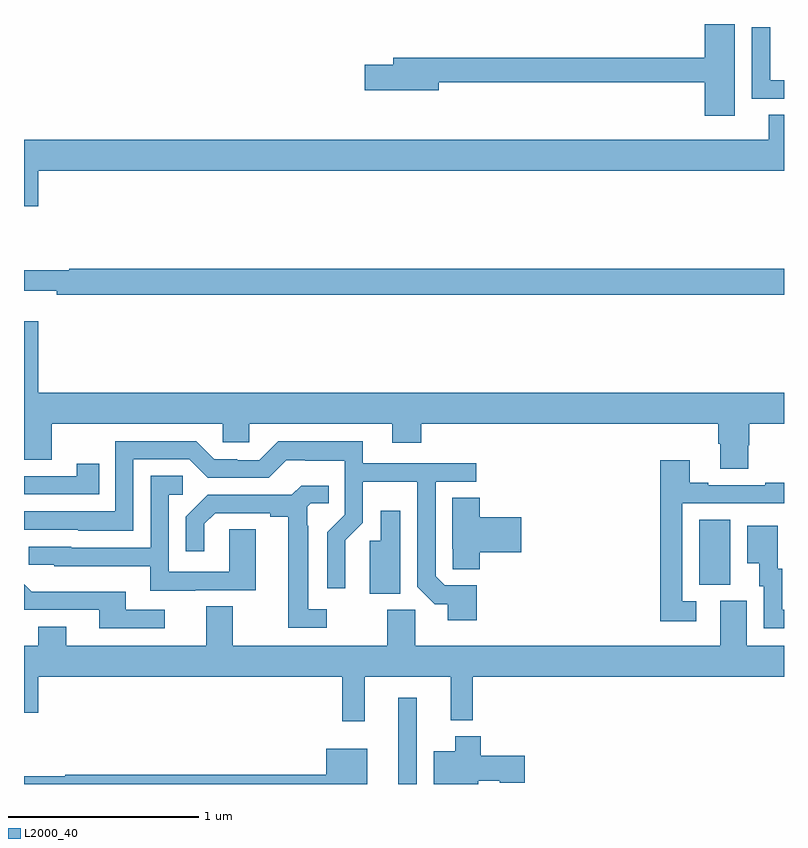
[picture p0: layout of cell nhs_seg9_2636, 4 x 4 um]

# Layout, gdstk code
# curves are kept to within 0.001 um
import gdstk
lib = gdstk.Library(unit=1e-6, precision=1e-09)
def R(c, l, rs):  # rectangles x0, y0, x1, y1
    for r in rs: c.add(gdstk.rectangle(r[:2], r[2:], *l))
def P(c, l, *ps):  # polygons
    for p in ps: c.add(gdstk.Polygon(p, *l))
L2000_40 = (2000, 40)

nhs_seg9_2636 = lib.new_cell('nhs_seg9_2636')
R(nhs_seg9_2636, L2000_40, [(262.97,1218.5,263.067,1218.955), (264.554,1219.549,264.718,1219.892)])
P(nhs_seg9_2636, L2000_40, [(264.742,1222.5),(264.584,1222.5),(264.584,1222.322),(262.943,1222.322),(262.943,1222.286),(262.794,1222.286),(262.794,1222.151),(263.182,1222.151),(263.182,1222.194),(264.584,1222.194),(264.584,1222.017),(264.742,1222.017)],
  [(265,1222.203),(264.927,1222.203),(264.927,1222.483),(264.831,1222.483),(264.831,1222.107),(265,1222.107)],
  [(261.076,1221.728),(265,1221.728),(265,1222.022),(264.92,1222.022),(264.92,1221.892),(261,1221.892),(261,1221.54),(261.076,1221.54)],
  [(265,1221.212),(261.239,1221.212),(261.239,1221.205),(261,1221.205),(261,1221.095),(261.172,1221.095),(261.172,1221.076),(265,1221.076)],
  [(264.813,1220.283),(264.818,1220.283),(264.818,1220.396),(265,1220.396),(265,1220.56),(261.076,1220.56),(261.076,1220.935),(261,1220.935),(261,1220.206),(261.147,1220.206),(261.147,1220.396),(262.047,1220.396),(262.047,1220.298),(262.185,1220.298),(262.185,1220.396),(262.937,1220.396),(262.937,1220.297),(263.09,1220.297),(263.09,1220.396),(264.653,1220.396),(264.653,1220.29),(264.665,1220.29),(264.665,1220.158),(264.813,1220.158)],
  [(263.384,1219.545),(263.214,1219.545),(263.166,1219.593),(263.166,1220.091),(263.38,1220.091),(263.38,1220.187),(262.783,1220.187),(262.783,1220.305),(262.339,1220.305),(262.239,1220.205),(262.122,1220.205),(262.122,1220.208),(262.002,1220.208),(261.906,1220.304),(261.48,1220.304),(261.48,1219.935),(261,1219.935),(261,1219.839),(261.285,1219.839),(261.285,1219.832),(261.576,1219.832),(261.576,1220.208),(261.87,1220.208),(261.966,1220.112),(262.287,1220.112),(262.38,1220.205),(262.48,1220.205),(262.48,1220.201),(262.689,1220.201),(262.689,1219.917),(262.596,1219.824),(262.596,1219.53),(262.692,1219.53),(262.691,1219.782),(262.782,1219.874),(262.782,1220.09),(263.07,1220.09),(263.07,1219.539),(263.163,1219.447),(263.231,1219.447),(263.231,1219.362),(263.384,1219.362)],
  [(264.538,1219.461),(264.465,1219.461),(264.465,1219.977),(265,1219.977),(265,1220.086),(264.901,1220.086),(264.901,1220.073),(264.601,1220.073),(264.601,1220.086),(264.505,1220.086),(264.505,1220.203),(264.349,1220.203),(264.349,1219.356),(264.538,1219.356)],
  [(261.395,1220.185),(261.277,1220.185),(261.277,1220.121),(261,1220.121),(261,1220.025),(261.395,1220.025)],
  [(261.901,1219.521),(262.219,1219.521),(262.219,1219.841),(262.08,1219.841),(262.08,1219.617),(261.762,1219.617),(261.762,1220.022),(261.835,1220.022),(261.835,1220.123),(261.666,1220.123),(261.666,1219.743),(261.249,1219.743),(261.249,1219.749),(261.024,1219.749),(261.024,1219.653),(261.159,1219.653),(261.159,1219.646),(261.665,1219.646),(261.665,1219.517),(261.901,1219.517)],
  [(262.594,1219.419),(262.495,1219.419),(262.495,1219.859),(262.491,1219.859),(262.491,1219.959),(262.509,1219.977),(262.604,1219.977),(262.604,1220.069),(262.458,1220.069),(262.41,1220.022),(261.968,1220.022),(261.852,1219.906),(261.852,1219.725),(261.949,1219.725),(261.949,1219.869),(262.006,1219.926),(262.295,1219.926),(262.295,1219.906),(262.391,1219.906),(262.391,1219.323),(262.594,1219.323)],
  [(263.399,1219.721),(263.617,1219.721),(263.617,1219.904),(263.399,1219.904),(263.399,1220.006),(263.255,1220.006),(263.255,1219.738),(263.256,1219.738),(263.256,1219.63),(263.399,1219.63)],
  [(262.981,1219.939),(262.877,1219.939),(262.877,1219.779),(262.82,1219.779),(262.82,1219.501),(262.981,1219.501)],
  [(265,1219.416),(264.991,1219.416),(264.991,1219.632),(264.967,1219.632),(264.967,1219.858),(264.806,1219.858),(264.806,1219.661),(264.869,1219.661),(264.869,1219.542),(264.894,1219.542),(264.894,1219.32),(265,1219.32)],
  [(261.742,1219.416),(261.535,1219.416),(261.535,1219.513),(261.142,1219.513),(261.142,1219.511),(261.041,1219.511),(261,1219.551),(261,1219.416),(261.395,1219.416),(261.395,1219.32),(261.742,1219.32)],
  [(262.793,1219.064),(263.246,1219.064),(263.246,1218.836),(263.363,1218.836),(263.363,1219.064),(265,1219.064),(265,1219.228),(264.805,1219.228),(264.805,1219.464),(264.665,1219.464),(264.665,1219.228),(263.058,1219.228),(263.058,1219.416),(262.912,1219.416),(262.912,1219.228),(262.099,1219.228),(262.099,1219.436),(261.959,1219.436),(261.959,1219.228),(261.223,1219.228),(261.223,1219.327),(261.076,1219.327),(261.076,1219.228),(261,1219.228),(261,1218.876),(261.076,1218.876),(261.076,1219.064),(262.675,1219.064),(262.675,1218.831),(262.793,1218.831)],
  [(263.392,1218.518),(263.505,1218.518),(263.505,1218.506),(263.635,1218.506),(263.635,1218.648),(263.405,1218.648),(263.405,1218.751),(263.27,1218.751),(263.27,1218.673),(263.156,1218.673),(263.156,1218.5),(263.392,1218.5)],
  [(262.807,1218.685),(262.592,1218.685),(262.592,1218.548),(261.217,1218.548),(261.217,1218.541),(261,1218.541),(261,1218.5),(262.807,1218.5)])

lib.write_gds('nhs_seg9_2636.gds')
